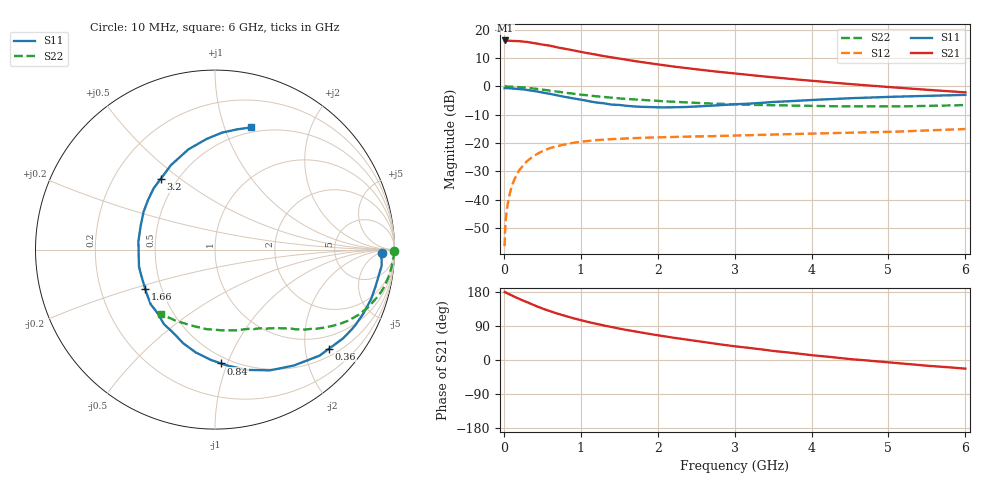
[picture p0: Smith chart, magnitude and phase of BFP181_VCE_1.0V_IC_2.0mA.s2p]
! Infineon Technologies  Discrete & RF Semiconductors
! BFP181
! VCE = 1.0 V,  IC =  2.0 mA
! Common Emitter S-Parameters:  Jan 2016
# GHz  S  MA  R  50
!  f  S11  S21  S12  S22
! GHz  MAG  ANG  MAG  ANG  MAG  ANG  MAG  ANG
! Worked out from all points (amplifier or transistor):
!   210 points, 10 MHz to 6 GHz, reference 50 ohm
!   highest |S21| = 16.2 dB at 20 MHz (marker M1)
!   |S21| within 3 dB of that: start of sweep to 813.3 MHz
!   unconditionally stable (mu >= 1): 2.254 GHz to end of sweep
!   at 185 MHz: K = 0.10, MSG = 23.2 dB, |S12| = -30.3 dB
!   at 1.52 GHz: K = 0.73, MSG = 14.1 dB, |S12| = -18.5 dB
!   at 6 GHz: K = 1.21, MAG = 3.7 dB, |S12| = -15.1 dB
!   S11 on the Smith chart (normalised r, x): 10 MHz: 25, -8; 360 MHz: 0.67, -2.52; 840 MHz: 0.45, -0.95; 1.66 GHz: 0.41, -0.22; 3.2 GHz: 0.41, +0.42; 6 GHz: 0.45, +1.23
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0.01  0.9287 -1.3  6.449 179.3  0.0015 89.5  0.996 -0.5
0.02  0.9285 -2.5  6.486 178.7  0.0037 85.8  0.9995 -1.1
0.06  0.9294 -6.7  6.424 174.5  0.0099 86.6  0.9924 -3.3
0.12  0.9158 -14.1  6.345 168.8  0.0198 80.7  0.9857 -6.5
0.24  0.8888 -27.9  6.208 157.6  0.0384 73.1  0.9626 -12.9
0.3  0.868 -34.8  6.11 152.8  0.0475 69.4  0.9458 -15.8
0.36  0.8416 -41.0  5.915 147.5  0.0551 65.3  0.9258 -18.5
0.4  0.8298 -45.4  5.814 143.8  0.0603 63.1  0.9136 -20.4
0.5  0.7815 -55.7  5.486 135.9  0.0715 57.5  0.8787 -24.4
0.6  0.7391 -65.5  5.244 128.7  0.0811 52.5  0.8427 -28.0
0.7  0.6937 -75.1  4.88 122.2  0.0884 48.1  0.8057 -31.0
0.84  0.6352 -86.9  4.51 113.8  0.0971 42.8  0.7607 -34.5
1.02  0.576 -102.1  4.022 104.2  0.1058 37.3  0.7108 -38.3
1.3  0.5034 -124.4  3.432 91.1  0.1149 30.7  0.6496 -43.2
1.66  0.4457 -150.8  2.86 77.0  0.1213 25.0  0.5913 -48.0
2.02  0.4266 -175.4  2.428 64.7  0.1261 21.1  0.5517 -52.5
2.4  0.4346 162.4  2.091 53.0  0.1302 18.0  0.5208 -57.9
3.1  0.4888 131.3  1.642 34.0  0.136 14.6  0.4764 -68.4
3.2  0.4965 127.7  1.589 31.7  0.1373 14.2  0.4729 -70.1
4.1  0.584 102.7  1.224 10.9  0.1473 10.8  0.4487 -87.4
5.1  0.6575 85.2  0.953 -8.1  0.1585 8.2  0.4435 -109.7
6  0.709 73.7  0.784 -22.8  0.1764 5.3  0.4687 -130.0
